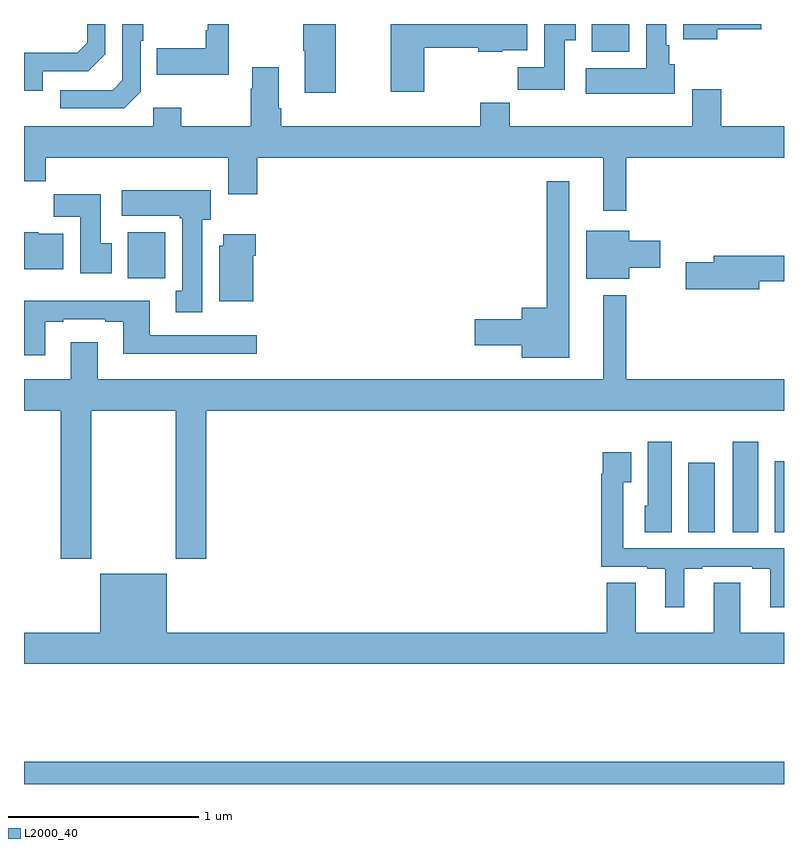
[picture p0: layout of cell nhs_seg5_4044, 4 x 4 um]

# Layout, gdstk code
import gdstk
lib = gdstk.Library(unit=1e-6, precision=1e-09)
def R(c, l, rs):  # rectangles x0, y0, x1, y1
    for r in rs: c.add(gdstk.rectangle(r[:2], r[2:], *l))
def P(c, l, *ps):  # polygons
    for p in ps: c.add(gdstk.Polygon(p, *l))
L2000_40 = (2000, 40)

nhs_seg5_4044 = lib.new_cell('nhs_seg5_4044')
R(nhs_seg5_4044, L2000_40, [(349,850.799,353,850.916), (352.496,852.124,352.636,852.49), (352.73,852.124,352.864,852.601), (352.952,852.124,353,852.499), (349.547,853.46,349.744,853.702), (351.989,854.654,352.186,854.799)])
P(nhs_seg5_4044, L2000_40, [(352.426,854.586),(352.396,854.586),(352.396,854.686),(352.381,854.686),(352.381,854.799),(352.274,854.799),(352.274,854.566),(351.957,854.566),(351.957,854.432),(352.426,854.432)],
  [(349.098,854.55),(349.338,854.55),(349.428,854.64),(349.428,854.799),(349.332,854.799),(349.332,854.7),(349.279,854.647),(349.002,854.647),(349.002,854.544),(349,854.544),(349,854.448),(349.098,854.448)],
  [(351.107,854.673),(351.391,854.673),(351.391,854.654),(351.516,854.654),(351.516,854.66),(351.649,854.66),(351.649,854.799),(350.929,854.799),(350.929,854.442),(351.107,854.442)],
  [(351.847,854.713),(351.904,854.713),(351.904,854.799),(351.737,854.799),(351.737,854.572),(351.598,854.572),(351.598,854.454),(351.847,854.454)],
  [(350.64,854.799),(350.47,854.799),(350.47,854.659),(350.477,854.659),(350.477,854.436),(350.64,854.436)],
  [(350.077,854.799),(349.968,854.799),(349.968,854.767),(349.956,854.767),(349.956,854.671),(349.699,854.671),(349.699,854.531),(350.077,854.531)],
  [(349.614,854.442),(349.614,854.711),(349.627,854.711),(349.627,854.799),(349.518,854.799),(349.518,854.502),(349.467,854.451),(349.191,854.451),(349.191,854.355),(349.527,854.355)],
  [(352.648,854.771),(352.879,854.771),(352.879,854.799),(352.469,854.799),(352.469,854.72),(352.648,854.72)],
  [(352.171,854.096),(353,854.096),(353,854.26),(352.67,854.26),(352.67,854.455),(352.517,854.455),(352.517,854.26),(351.557,854.26),(351.557,854.384),(351.401,854.384),(351.401,854.26),(350.354,854.26),(350.354,854.356),(350.341,854.356),(350.341,854.572),(350.201,854.572),(350.201,854.459),(350.194,854.459),(350.194,854.26),(349.827,854.26),(349.827,854.359),(349.68,854.359),(349.68,854.26),(349,854.26),(349,853.972),(349.115,853.972),(349.115,854.096),(350.075,854.096),(350.075,853.902),(350.228,853.902),(350.228,854.096),(352.049,854.096),(352.049,853.815),(352.171,853.815)],
  [(351.871,853.972),(351.75,853.972),(351.75,853.306),(351.62,853.306),(351.62,853.244),(351.372,853.244),(351.372,853.109),(351.62,853.109),(351.62,853.043),(351.871,853.043)],
  [(349.939,853.77),(349.984,853.77),(349.984,853.924),(349.515,853.924),(349.515,853.79),(349.819,853.79),(349.819,853.777),(349.832,853.777),(349.832,853.394),(349.799,853.394),(349.799,853.281),(349.939,853.281)],
  [(349.462,853.644),(349.405,853.644),(349.405,853.903),(349.156,853.903),(349.156,853.784),(349.295,853.784),(349.295,853.488),(349.462,853.488)],
  [(352.186,853.517),(352.348,853.517),(352.348,853.659),(352.186,853.659),(352.186,853.711),(351.959,853.711),(351.959,853.457),(352.186,853.457)],
  [(349.207,853.696),(349.074,853.696),(349.074,853.702),(349,853.702),(349,853.508),(349.207,853.508)],
  [(350.206,853.58),(350.219,853.58),(350.219,853.693),(350.048,853.693),(350.048,853.632),(350.027,853.632),(350.027,853.34),(350.206,853.34)],
  [(352.87,853.444),(353,853.444),(353,853.58),(352.631,853.58),(352.631,853.544),(352.482,853.544),(352.482,853.402),(352.87,853.402)],
  [(349.353,852.764),(349.798,852.764),(349.798,851.985),(349.958,851.985),(349.958,852.764),(353,852.764),(353,852.928),(352.171,852.928),(352.171,853.372),(352.049,853.372),(352.049,852.928),(349.387,852.928),(349.387,853.123),(349.247,853.123),(349.247,852.928),(349,852.928),(349,852.764),(349.193,852.764),(349.193,851.985),(349.353,851.985)],
  [(349.111,853.233),(349.207,853.233),(349.207,853.245),(349.427,853.245),(349.427,853.233),(349.523,853.233),(349.523,853.064),(350.224,853.064),(350.224,853.161),(349.663,853.161),(349.663,853.342),(349,853.342),(349,853.056),(349.111,853.056)],
  [(352.408,852.601),(352.283,852.601),(352.283,852.264),(352.268,852.264),(352.268,852.124),(352.408,852.124)],
  [(352.474,851.931),(352.57,851.931),(352.57,851.943),(352.832,851.943),(352.832,851.931),(352.928,851.931),(352.928,851.73),(353,851.73),(353,852.039),(352.155,852.039),(352.155,852.388),(352.195,852.388),(352.195,852.544),(352.047,852.544),(352.047,852.431),(352.039,852.431),(352.039,851.943),(352.28,851.943),(352.28,851.931),(352.376,851.931),(352.376,851.73),(352.474,851.73)],
  [(353,851.596),(352.771,851.596),(352.771,851.858),(352.631,851.858),(352.631,851.596),(352.219,851.596),(352.219,851.858),(352.067,851.858),(352.067,851.596),(349.75,851.596),(349.75,851.905),(349.4,851.905),(349.4,851.596),(349,851.596),(349,851.432),(353,851.432)])

lib.write_gds('nhs_seg5_4044.gds')
